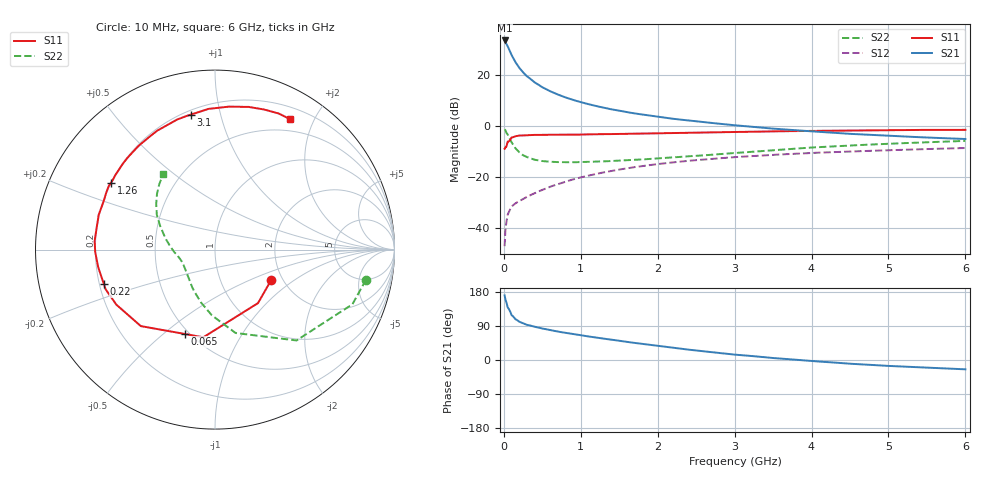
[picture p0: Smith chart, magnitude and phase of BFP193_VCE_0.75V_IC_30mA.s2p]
! Infineon Technologies  Discrete & RF Semiconductors
! BFP193
! VCE = 0.75V,  IC =  30 mA
! Common Emitter S-Parameters:  Jan 2016
# GHz  S  MA  R  50
!  f  S11  S21  S12  S22
! GHz  MAG  ANG  MAG  ANG  MAG  ANG  MAG  ANG
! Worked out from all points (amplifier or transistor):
!   210 points, 10 MHz to 6 GHz, reference 50 ohm
!   highest |S21| = 33.5 dB at 10 MHz (marker M1)
!   |S21| within 3 dB of that: start of sweep to 61 MHz
!   unconditionally stable (mu >= 1): 481.7 MHz to end of sweep
!   at 185 MHz: K = 0.65, MSG = 26.6 dB, |S12| = -29.7 dB
!   at 1.52 GHz: K = 1.12, MAG = 9.3 dB, |S12| = -17.0 dB
!   at 6 GHz: K = 1.01, MAG = 1.1 dB, |S12| = -8.7 dB
!   S11 on the Smith chart (normalised r, x): 10 MHz: 1.75, -0.67; 65 MHz: 0.47, -0.59; 220 MHz: 0.22, -0.14; 1.26 GHz: 0.20, +0.28; 3.1 GHz: 0.22, +0.81; 6 GHz: 0.34, +1.68
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0.01  0.3561 -28.0  47.36 170.5  0.0044 78.4  0.8576 -11.3
0.02  0.3825 -51.2  44.72 160.5  0.0089 74.1  0.824 -21.7
0.05  0.4929 -97.6  36.42 139.1  0.0182 59.9  0.6801 -48.1
0.065  0.4995 -109.8  32.51 134.6  0.0205 55.7  0.6066 -54.5
0.1  0.5936 -134.1  24.59 118.7  0.0263 49.0  0.4787 -76.1
0.15  0.6293 -150.8  17.76 107.8  0.0303 46.5  0.3667 -92.7
0.2  0.6482 -160.0  13.82 101.1  0.0337 47.8  0.3054 -104.7
0.22  0.6484 -162.8  12.74 99.4  0.0349 48.2  0.2891 -108.2
0.26  0.6526 -167.8  10.81 95.7  0.0376 49.2  0.2624 -115.5
0.3  0.6583 -171.6  9.41 92.8  0.0408 50.9  0.2459 -121.0
0.4  0.6674 -178.8  7.144 87.6  0.048 54.2  0.218 -132.2
0.5  0.6723 176.0  5.73 83.1  0.0558 56.4  0.2049 -140.1
0.6  0.6705 171.3  4.803 78.9  0.0643 58.0  0.1991 -145.8
0.7  0.6719 166.8  4.138 75.0  0.0717 58.6  0.1957 -150.1
0.9  0.6748 159.5  3.228 68.5  0.0896 58.4  0.1939 -157.0
1.02  0.6783 155.1  2.871 64.8  0.0996 58.1  0.1961 -160.0
1.26  0.6888 147.3  2.344 57.5  0.12 56.3  0.2013 -165.2
2.02  0.7184 125.8  1.499 37.0  0.1802 47.5  0.232 -178.3
3.1  0.7639 100.2  1.001 12.6  0.2498 33.2  0.3017 162.6
4.1  0.8025 82.8  0.766 -4.1  0.2997 20.7  0.3846 147.6
5.1  0.8283 69.6  0.632 -16.5  0.3375 9.5  0.4538 135.0
6  0.8386 60.1  0.555 -24.6  0.3694 -0.2  0.509 124.6
